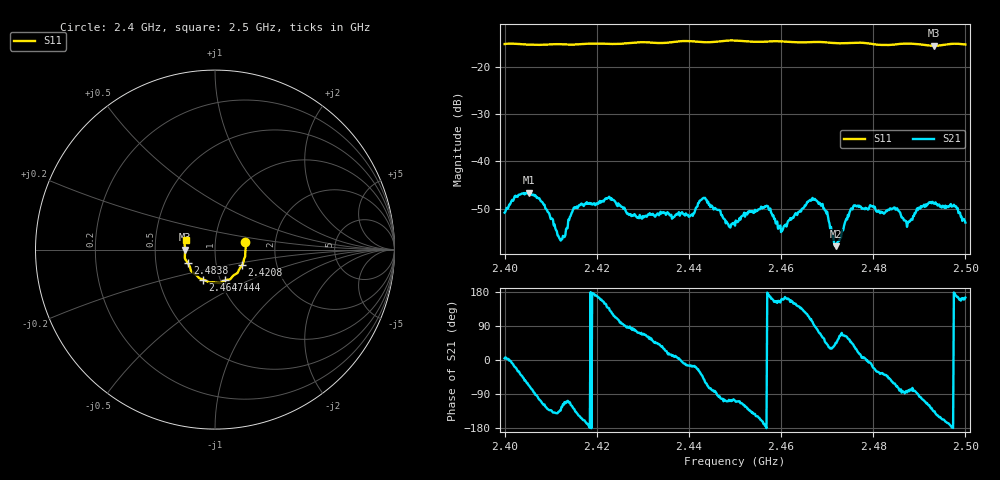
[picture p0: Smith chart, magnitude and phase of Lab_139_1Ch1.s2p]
# Hz S RI R 50
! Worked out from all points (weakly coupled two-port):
!   601 points, 2.4 GHz to 2.5 GHz, reference 50 ohm
!   highest |S21| = -46.58 dB at 2.4053 GHz (marker M1); lowest = -57.9 dB at 2.472 GHz (marker M2)
!   lowest |S11| = -15.6 dB at 2.4932 GHz (marker M3), VSWR 1.40, Z = 35.8 - j0.087 ohm
!   |S11| at or under -10 dB: start of sweep to end of sweep
!   S12 and S22 are empty: the file has one direction only
!   S11 on the Smith chart (normalised r, x): 2.4 GHz: 1.40, +0.12; 2.4208 GHz: 1.33, -0.24; 2.444 GHz: 1.06, -0.37; 2.4647 GHz: 0.83, -0.29; 2.4838 GHz: 0.73, -0.11; 2.5 GHz: 0.72, +0.08
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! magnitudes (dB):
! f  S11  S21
! 2.4 GHz  -15.2  -50.8
! 2.4053 GHz  -15.4  -46.6
! 2.4082 GHz  -15.4  -48.6
! 2.412 GHz  -15.3  -56.4
! 2.4167 GHz  -15.2  -48.9
! 2.4208 GHz  -15.2  -48.7
! 2.4333 GHz  -15.0  -51.0
! 2.4403 GHz  -14.7  -51.4
! 2.444 GHz  -14.9  -48.7
! 2.45 GHz  -14.5  -53.6
! 2.4567 GHz  -14.7  -49.5
! 2.4605 GHz  -14.7  -54.0
! 2.4647 GHz  -14.9  -49.9
! 2.4667 GHz  -14.8  -48.0
! 2.4695 GHz  -14.9  -50.3
! 2.472 GHz  -15.1  -57.9
! 2.4757 GHz  -15.0  -49.5
! 2.4833 GHz  -15.5  -50.2
! 2.4838 GHz  -15.4  -50.0
! 2.4875 GHz  -15.2  -52.9
! 2.4932 GHz  -15.6  -48.9
! 2.5 GHz  -15.3  -52.9
